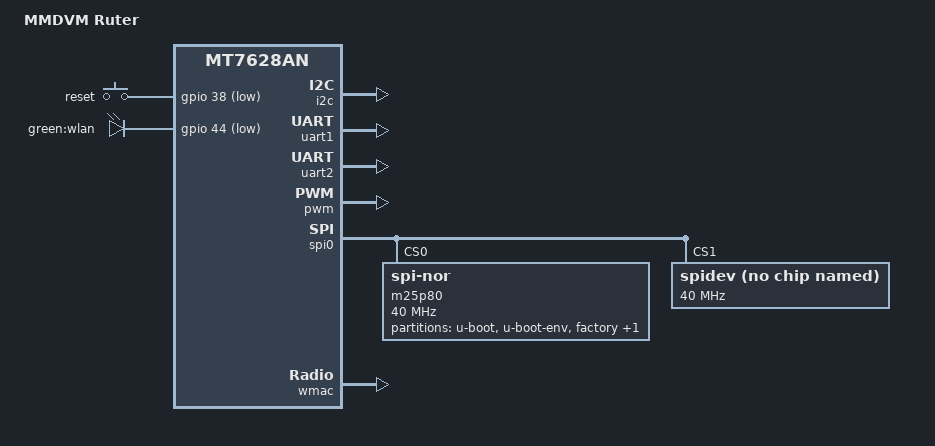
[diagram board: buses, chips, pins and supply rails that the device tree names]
// SPDX-License-Identifier: GPL-2.0-or-later OR MIT

#include "mt7628an.dtsi"

#include <dt-bindings/gpio/gpio.h>
#include <dt-bindings/input/input.h>

/ {
	compatible = "hilink,hlk-7628n", "mediatek,mt7628an-soc";
	model = "MMDVM Ruter";

	keys {
		compatible = "gpio-keys";

		reset {
			label = "reset";
			gpios = <&gpio 38 GPIO_ACTIVE_LOW>;
			linux,code = <KEY_RESTART>;
		};
	};

	leds {
		compatible = "gpio-leds";

		wlan {
			label = "green:wlan";
			gpios = <&gpio 44 GPIO_ACTIVE_LOW>;
		};
	};
};

&state_default {
	gpio {
		groups = "gpio";
		function = "gpio";
	};

	perst {
		groups = "perst";
		function = "gpio";
	};

	refclk {
		groups = "refclk";
		function = "gpio";
	};

	i2s {
		groups = "i2s";
		function = "gpio";
	};

	spis {
		groups = "spis";
		function = "gpio";
	};

	wled_kn {
		groups = "wled_kn";
		function = "gpio";
	};

	wled_an {
		groups = "wled_an";
		function = "wled_an";
	};

	wdt {
		groups = "wdt";
		function = "gpio";
	};
};

&i2c {
	status = "okay";
};

&uart1 {
	status = "okay";
};

&uart2 {
	status = "okay";
};

&pwm {
	status = "okay";
};

&spi0 {
	status = "okay";

	pinctrl-names = "default";
	pinctrl-0 = <&spi_pins>, <&spi_cs1_pins>;

	m25p80@0 {
		compatible = "jedec,spi-nor";
		reg = <0>;
		spi-max-frequency = <40000000>;

		partitions {
			compatible = "fixed-partitions";
			#address-cells = <1>;
			#size-cells = <1>;

			partition@0 {
				label = "u-boot";
				reg = <0x0 0x30000>;
				read-only;
			};

			partition@30000 {
				label = "u-boot-env";
				reg = <0x30000 0x10000>;
			};

			factory: partition@40000 {
				label = "factory";
				reg = <0x40000 0x10000>;
				read-only;
			};

			partition@50000 {
				compatible = "denx,uimage";
				label = "firmware";
				reg = <0x50000 0x1fb0000>;
			};
		};
	};

	spidev@1 {
		#address-cells = <1>;
		#size-cells = <1>;
		compatible = "linux,spidev";
		reg = <1>;
		spi-max-frequency = <40000000>;
	};
};

&ethernet {
	nvmem-cells = <&macaddr_factory_28>;
	nvmem-cell-names = "mac-address";
};

&wmac {
	status = "okay";

	mediatek,mtd-eeprom = <&factory 0x0>;
};

&factory {
	compatible = "nvmem-cells";
	#address-cells = <1>;
	#size-cells = <1>;

	macaddr_factory_28: macaddr@28 {
		reg = <0x28 0x6>;
	};
};
